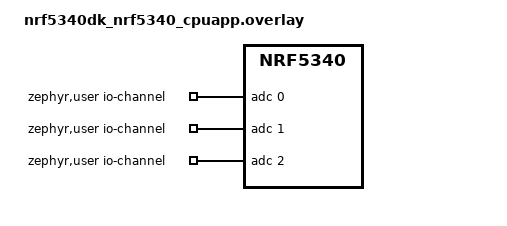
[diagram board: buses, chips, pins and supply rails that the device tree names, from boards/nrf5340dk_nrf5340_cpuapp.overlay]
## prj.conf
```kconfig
# ── ADC ───────────────────────────────────────────────────────────────────────
CONFIG_GPIO=n
CONFIG_NRFX_GPIOTE=y
CONFIG_NRFX_SAADC=y
CONFIG_NRFX_TIMER2=y
CONFIG_NRFX_DPPI=y


# ── POWER MANAGEMENT ──────────────────────────────────────────────────────────
CONFIG_PM_DEVICE=y
CONFIG_PM_DEVICE_RUNTIME=y
```

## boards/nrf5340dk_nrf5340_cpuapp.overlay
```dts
/*
 * SPDX-License-Identifier: Apache-2.0
 *
 * Copyright (c) 2022 Nordic Semiconductor ASA
 */

/ {
	zephyr,user {
		io-channels = <&adc 0>, <&adc 1>, <&adc 2>;
	};
};

// &adc {
// 	#address-cells = <1>;
// 	#size-cells = <0>;
// 	status = "okay";
// 	channel@0 {
// 		reg = <0>;
// 		zephyr,gain = "ADC_GAIN_1_6";
// 		zephyr,reference = "ADC_REF_INTERNAL";
// 		zephyr,acquisition-time = <ADC_ACQ_TIME_DEFAULT>;
// 		zephyr,input-positive = <NRF_SAADC_AIN0>; /* P0.02 for nRF52xx, P0.04 for nRF5340 */
// 		zephyr,resolution = <12>;
// 	};
// 	channel@1 {
// 		reg = <1>;
// 		zephyr,gain = "ADC_GAIN_1_6";
// 		zephyr,reference = "ADC_REF_INTERNAL";
// 		zephyr,acquisition-time = <ADC_ACQ_TIME_DEFAULT>;
// 		zephyr,input-positive = <NRF_SAADC_AIN1>;
// 		zephyr,resolution = <12>;
// 	};
// 	channel@2 {
// 		reg = <2>;
// 		zephyr,gain = "ADC_GAIN_1_6";
// 		zephyr,reference = "ADC_REF_INTERNAL";
// 		zephyr,acquisition-time = <ADC_ACQ_TIME_DEFAULT>;
// 		zephyr,input-positive = <NRF_SAADC_AIN2>;
// 		zephyr,resolution = <12>;
// 	};
// };
```

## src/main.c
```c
// /**
//  * @file main.c
//  * @author Katie Jiang
//  * @brief Multi-channel ADC reads on the nRF5340, based on ESP32 version
//  * @version 0.1
//  * @date 2026-06-22
//  */

// #include <stdio.h>

// #include <zephyr/kernel.h>
// #include <zephyr/device.h>
// #include <zephyr/devicetree.h>
// #include <zephyr/drivers/gpio.h>
// #include <zephyr/drivers/adc.h>
// #include <zephyr/logging/log.h>
// #include <zephyr/sys/util.h>

// /* START LOG */
// LOG_MODULE_REGISTER(nRF_ADC, LOG_LEVEL_DBG);

// /* PIN DEFINITIONS */
// // #define CHIPSELECT
// #define BTN_PIN DT_ALIAS(sw0) // Button 1
// #define LED_PIN DT_ALIAS(led0) // LED1

// /* ADC SPEC CHANNEL SELECTION */
// // ADC channels are specified and configured in boards/*.overlay
// #define DT_SPEC_AND_COMMA(node_id, prop, idx) \
// 	ADC_DT_SPEC_GET_BY_IDX(node_id, idx),

// /* CONST STRUCTS */
// static const struct adc_dt_spec adc_channels[] = { // adc channels
//       DT_FOREACH_PROP_ELEM(DT_PATH(zephyr_user), io_channels, DT_SPEC_AND_COMMA)
// };
// static const struct gpio_dt_spec led = GPIO_DT_SPEC_GET(LED_PIN, gpios);
// static const struct gpio_dt_spec btn = GPIO_DT_SPEC_GET(BTN_PIN, gpios);

// /* CONSTANTS & VARIABLES */
// const long interval = 10000;
// bool is_running = false;
// int32_t raw_vals[ARRAY_SIZE(adc_channels)];
// int32_t voltages[ARRAY_SIZE(adc_channels)];
// unsigned long initialTime;
// unsigned long currentTime;
// unsigned long expectedTime = 0;

// void blinkLED(void) {
//       gpio_pin_toggle_dt(&led);
//       k_msleep(200);
// }

// // TODO: Update to an interrupt
// void waitForButtonPress() {
//       // wait for button to be released first (debounce)
//       while (gpio_pin_get_dt(&btn));
//       k_msleep(50);
//       // now wait for next press
//       while (!gpio_pin_get_dt(&btn));
//       k_msleep(50);
// }

// void setup() {
//       int err;
//       // Configure in/out pins
//       gpio_pin_configure_dt(&btn, GPIO_INPUT | GPIO_PULL_UP);
//       gpio_pin_configure_dt(&led, GPIO_OUTPUT);
//       gpio_pin_set_dt(&led, 0); // Set LED pin LOW

//       // Configure ADC channels
//       for (size_t i=0U; i<ARRAY_SIZE(adc_channels); i++) {
//             if (!adc_is_ready_dt(&adc_channels[i])) {
//                   LOG_ERR("ADC controller device %s not ready", adc_channels[i].dev->name);
//                   blinkLED();
//                   return;
//             }

//             err = adc_channel_setup_dt(&adc_channels[i]);
//             if (err < 0) {
//                   LOG_ERR("Could not setup channel #%d (%d)", 0, err);
//                   blinkLED();
//                   return;
//             }
//       }

//       // initSD omitted
//       is_running = true;
//       gpio_pin_set_dt(&led, 1); // solid on = recording
//       // printk("Setup complete");
// }

// int main(void) {
//       int err;
//       setup();
//       // Define ADC sequence & buffer
//       int16_t buf;
//       struct adc_sequence sequence = {
//             .buffer = &buf,
//             .buffer_size = sizeof(buf),
//       };

//       // void loop()
//       while (1) {
//             if (!is_running) {
//                   // printk("Press button to start new recording...");
//                   gpio_pin_set_dt(&led, 0);
//                   waitForButtonPress();
      
//                   expectedTime = 0;
//                   is_running = true;
//                   gpio_pin_set_dt(&led, 1);
//                   continue;
//             }

//             initialTime = k_cyc_to_us_floor32(k_cycle_get_32()); // equivalent to micros()
//             while (is_running) {
//                   currentTime = k_cyc_to_us_floor32(k_cycle_get_32());
//                   if (currentTime - initialTime >= expectedTime) {
//                         expectedTime += interval;
      
//                         if (gpio_pin_get_dt(&btn)) {
//                               while (!gpio_pin_get_dt(&btn));
//                               is_running = false;
//                               gpio_pin_set_dt(&led, 0); // off = stopped
//                               // printk("Recording stopped");
//                               break;
//                         }
      
//                         for (size_t i=0U; i<ARRAY_SIZE(adc_channels); i++) {
//                               // Initialize ADC sequence
//                               err = adc_sequence_init_dt(&adc_channels[i], &sequence);
//                               if (err < 0) {
//                                     LOG_ERR("Could not initialize sequence\n");
//                                     return 0;
//                               }
      
//                               int32_t val_mv;
      
//                               // Analog read
//                               err = adc_read(adc_channels[i].dev, &sequence);
//                               if (err < 0) {
//                                     LOG_ERR("Could not read (%d)\n", err);
//                                     continue;
//                               }
      
//                               val_mv = (int)buf;
//                               raw_vals[i] = val_mv;
      
//                               unsigned long time_diff = k_cyc_to_us_floor32(k_cycle_get_32()) - initialTime;
//                               LOG_INF("ADC reading[%lu]: %s, channel %d: Raw: %d", time_diff, adc_channels[i].dev->name, 
//                                     adc_channels[i].channel_id, raw_vals[i]);
                              
//                               // Convert raw value to mV
//                               err = adc_raw_to_millivolts_dt(&adc_channels[i], &val_mv);
//                               if (err < 0) {
//                               LOG_WRN(" (value in mV not available)\n");
//                               } else {
//                                     LOG_INF(" = %d mV", val_mv);
//                               }
      
//                               voltages[i] = val_mv;
//                               // This sleep is necessary in order to print periodically
//                               // and makes the readings more accurate for some reason...
//                               // TODO: Adjust sleep to match sampling rate
//                               k_sleep(K_MSEC(1000));
//                         }
//                   }
//             }
//       }
// }
```

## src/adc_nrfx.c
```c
/**
 * @brief Analog reads using the nRFx DPPI
 * 
 */

#include <nrfx_example.h>
#include <saadc_examples_common.h>
#include <nrfx_saadc.h>

#define NRFX_LOG_MODULE                 EXAMPLE
#define NRFX_EXAMPLE_CONFIG_LOG_ENABLED 1
#define NRFX_EXAMPLE_CONFIG_LOG_LEVEL   3
#include <nrfx_log.h>

// Channel Configuartion
static const nrfx_saadc_channel_t multi_channels[] =
{
      NRFX_SAADC_DEFAULT_CHANNEL_SE(SAADC_CH0_AIN, 0),
      NRFX_SAADC_DEFAULT_CHANNEL_SE(SAADC_CH1_AIN, 1),
#if SAADC_MAX_CHANNELS == 3
      NRFX_SAADC_DEFAULT_CHANNEL_SE(SAADC_CH2_AIN, 2),
#endif
};

#define NUM_ADC_CHANNELS NRFX_ARRAY_SIZE(multi_channels)

/** @brief Array specifying GPIO pins used to test the functionality of SAADC. */
static uint8_t m_out_pins[NUM_ADC_CHANNELS] = {
    SAADC_CH0_LOOPBACK_PIN,
    SAADC_CH1_LOOPBACK_PIN,
#if SAADC_MAX_CHANNELS == 3
    SAADC_CH2_LOOPBACK_PIN
#endif
};

/** @brief Symbol specifying the number of SAADC samplings to trigger. */
#define SAMPLING_ITERATIONS 2

/** @brief Symbol specifying the resolution of the SAADC. */
#define RESOLUTION NRF_SAADC_RESOLUTION_12BIT

static nrf_saadc_value_t samples_buffer[NUM_ADC_CHANNELS];

/** @brief Flag indicating that sampling on every specified channel is finished and buffer ( @ref m_samples_buffer ) is filled with samples. */
static bool saadc_ready;

/** @brief GPIOTE instance used in the example. */
static nrfx_gpiote_t gpiote_inst = NRFX_GPIOTE_INSTANCE(NRF_GPIOTE_INST_GET(SAADC_GPIOTE_INST_IDX));

#if !defined(__ZEPHYR__)
/* Define an IRQ handler named nrfx_gpiote_<SAADC_GPIOTE_INST_IDX>_irq_handler. */
NRFX_INSTANCE_IRQ_HANDLER_DEFINE(gpiote, SAADC_GPIOTE_INST_IDX, &gpiote_inst);
#endif

/** 
 * @brief Function for handling SAADC driver events.
 */
static void saadc_handler(nrfx_saadc_evt_t const * p_event) {
      uint16_t samples_number;
}

int main(void) {
      int status;
      (void)status;

#if defined(__ZEPHYR__)
      IRQ_CONNECT(NRFX_IRQ_NUMBER_GET(NRF_SAADC), IRQ_PRIO_LOWEST, nrfx_saadc_irq_handler, 0, 0);
      IRQ_CONNECT(NRFX_IRQ_NUMBER_GET(NRF_GPIOTE_INST_GET(SAADC_GPIOTE_INST_IDX)), IRQ_PRIO_LOWEST,
                  nrfx_gpiote_irq_handler, &gpiote_inst, 0);
#endif
      NRFX_EXAMPLE_LOG_INIT();
      NRFX_LOG_INFO("Starting nrfx_saadc simple non-blocking example.");
      NRFX_EXAMPLE_LOG_PROCESS();

      status = nrfx_saadc_init(NRFX_SAADC_DEFAULT_CONFIG_IRQ_PRIORITY);
      NRFX_ASSERT(status == 0);

      status = nrfx_gpiote_init(&gpiote_inst, NRFX_GPIOTE_DEFAULT_CONFIG_IRQ_PRIORITY);
      NRFX_ASSERT(status == 0);
      NRFX_LOG_INFO("GPIOTE status: %s",
                  nrfx_gpiote_init_check(&gpiote_inst) ? "initialized" : "not initialized");
      
      for (uint8_t i = 0; i < NUM_ADC_CHANNELS; i++) {
            gpiote_pin_toggle_task_setup(&gpiote_inst, m_out_pins[i]);
      }

      uint32_t sampling_index = 0;
      uint32_t channels_mask = 0;

      // STATE_MULTIPLE_CONFIG
      NRFX_LOG_INFO("Multiple channels SAADC test.");
      status = nrfx_saadc_channels_config(multi_channels, NUM_ADC_CHANNELS);
      NRFX_ASSERT(status == 0);

      


}
```

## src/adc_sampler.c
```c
// /* SPDX-License-Identifier: Apache-2.0 */
// #include "adc_sampler.h"

// #include <zephyr/kernel.h>
// #include <zephyr/device.h>
// #include <zephyr/devicetree.h>
// #include <zephyr/drivers/adc.h>
// #include <zephyr/logging/log.h>
// #include <zephyr/sys/util.h>

// LOG_MODULE_REGISTER(adc_sampler, LOG_LEVEL_DBG);

// #define DT_SPEC_AND_COMMA(node_id, prop, idx) 
// 	ADC_DT_SPEC_GET_BY_IDX(node_id, idx),

// static const struct adc_dt_spec adc_channels[] = {
// 	DT_FOREACH_PROP_ELEM(DT_PATH(zephyr_user), io_channels, DT_SPEC_AND_COMMA)
// };

// BUILD_ASSERT(ARRAY_SIZE(adc_channels) == ADC_NUM_CHANNELS,
// 	     "overlay io-channels count must equal ADC_NUM_CHANNELS");

// /* ── Queue (contract with BLE consumer) ──────────────────────────────────── */

// K_MSGQ_DEFINE(adc_sample_q, sizeof(struct adc_sample), 20, 4);

// /* ── Internal state ───────────────────────────────────────────────────────── */

// #define SAMPLE_INTERVAL_MS 10   /* 100 Hz */

// static struct k_timer sample_timer;
// static K_SEM_DEFINE(sample_sem, 0, 1);
// static volatile bool running;

// static void timer_fn(struct k_timer *t)
// {
// 	ARG_UNUSED(t);
// 	k_sem_give(&sample_sem);
// }

// /* ── Async Read (phase 2) ───────
//  *
//  * Thread yields during conversion and the CPU can enter sleep between samples.
//  *
//  * TODO (DMA — phase 3, full CPU sleep): Configure SAADC scan mode triggered
//  * by TIMER via DPPI; handle the SAADC END event in a callback that writes
//  * directly into adc_sample_q. The CPU can then stay in System ON Low Power
//  * between callbacks entirely.
// */

// static void sample_all_channels_async(struct adc_sample *out)
// {
// 	int16_t buf;
// 	struct adc_sequence sequence = {
// 		.buffer      = &buf,
// 		.buffer_size = sizeof(buf),
// 	};

// 	static struct k_poll_signal async_sig = K_POLL_SIGNAL_INITIALIZER(async_sig);
// 	struct k_poll_event async_evt = 
// 		K_POLL_EVENT_INITIALIZER(K_POLL_TYPE_SIGNAL, 
// 						K_POLL_MODE_NOTIFY_ONLY, 
// 						&async_sig);

// 	out->timestamp_us = k_cyc_to_us_floor32(k_cycle_get_32());

// 	for (size_t i = 0; i < ARRAY_SIZE(adc_channels); i++) {
// 		// Initialize sequence
// 		int err = adc_sequence_init_dt(&adc_channels[i], &sequence);
// 		if (err < 0) {
// 			LOG_ERR("sequence init ch%u: %d", i, err);
// 			out->raw[i] = 0;
// 			out->mv[i]  = 0;
// 			continue;
// 		}

// 		// Reset signal before each read
// 		k_poll_signal_reset(&async_sig);
// 		async_evt.state = K_POLL_STATE_NOT_READY;

// 		err = adc_read_async(adc_channels[i].dev, &sequence, &async_sig);
// 		if (err < 0) {
// 			LOG_ERR("adc_read ch%u: %d", i, err);
// 			out->raw[i] = 0;
// 			out->mv[i]  = 0;
// 			continue;
// 		}

// 		// Sleep while waiting for completion
// 		err = k_poll(&async_evt, 1, K_FOREVER);
// 		if (err < 0) {
// 			LOG_ERR("k_poll ch%u: %d", i, err);
// 			out->raw[i] = 0;
// 			out->mv[i]  = 0;
// 			continue;
// 		}

// 		int32_t val_mv = (int32_t)buf;
// 		out->raw[i] = buf;

// 		LOG_INF("ADC reading[%u us]: %s, channel %d: Raw: %d",
// 			out->timestamp_us,
// 			adc_channels[i].dev->name,
// 			adc_channels[i].channel_id,
// 			out->raw[i]);

// 		err = adc_raw_to_millivolts_dt(&adc_channels[i], &val_mv);
// 		if (err < 0) {
// 			LOG_WRN("ch%u: mV not available", i);
// 			out->mv[i] = 0;
// 		} else {
// 			LOG_INF("ch%u: %d mV", i, val_mv);
// 			out->mv[i] = val_mv;
// 		}
// 	}
// }

// /* ── Sampler thread ───────────────────────────────────────────────────────── */

// static void sampler_thread_fn(void *a, void *b, void *c)
// {
// 	ARG_UNUSED(a);
// 	ARG_UNUSED(b);
// 	ARG_UNUSED(c);

// 	while (1) {
// 		k_sem_take(&sample_sem, K_FOREVER);

// 		if (!running) {
// 			continue;
// 		}

// 		struct adc_sample s;
// 		// sample_all_channels(&s);
// 		sample_all_channels_async(&s);

// 		if (k_msgq_put(&adc_sample_q, &s, K_NO_WAIT) != 0) {
// 			LOG_WRN("queue full, sample dropped");
// 		}
// 	}
// }

// K_THREAD_DEFINE(sampler_tid, 1024, sampler_thread_fn,
// 		NULL, NULL, NULL, 5, 0, 0);

// /* ── Public API ───────────────────────────────────────────────────────────── */

// int adc_sampler_init(void)
// {
// 	for (size_t i = 0; i < ARRAY_SIZE(adc_channels); i++) {
// 		if (!adc_is_ready_dt(&adc_channels[i])) {
// 			LOG_ERR("ADC device %s not ready",
// 				adc_channels[i].dev->name);
// 			return -ENODEV;
// 		}

// 		int err = adc_channel_setup_dt(&adc_channels[i]);
// 		if (err < 0) {
// 			LOG_ERR("channel setup ch%u: %d", i, err);
// 			return err;
// 		}
// 	}

// 	k_timer_init(&sample_timer, timer_fn, NULL);
// 	LOG_INF("ADC sampler ready, %u channels", ADC_NUM_CHANNELS);
// 	return 0;
// }

// void adc_sampler_start(void)
// {
// 	running = true;
// 	k_timer_start(&sample_timer, K_NO_WAIT, K_MSEC(SAMPLE_INTERVAL_MS));
// 	LOG_INF("ADC sampling started @ %d Hz", 1000 / SAMPLE_INTERVAL_MS);
// }

// void adc_sampler_stop(void)
// {
// 	running = false;
// 	k_timer_stop(&sample_timer);
// 	LOG_INF("ADC sampling stopped");
// }
```

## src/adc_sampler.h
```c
// /* SPDX-License-Identifier: Apache-2.0 */
// #ifndef ADC_SAMPLER_H_
// #define ADC_SAMPLER_H_

// #include <zephyr/kernel.h>
// #include <stdint.h>

// /* Must match the number of channels declared in boards/*.overlay */
// #define ADC_NUM_CHANNELS 3

// /* ── Contract ─────────────────────────────────────────────────────────────── */

// struct adc_sample {
// 	uint32_t timestamp_us;
// 	int16_t  raw[ADC_NUM_CHANNELS];
// 	int32_t  mv[ADC_NUM_CHANNELS];
// };

// /* Shared queue: ADC is the producer, BLE sender is the consumer.
//  * Depth 20 = 200 ms of headroom at 100 Hz.
//  * Defined in adc_sampler.c; BLE side includes this header for the extern. */
// extern struct k_msgq adc_sample_q;

// /* ── API ──────────────────────────────────────────────────────────────────── */

// int  adc_sampler_init(void);
// void adc_sampler_start(void);
// void adc_sampler_stop(void);

// #endif /* ADC_SAMPLER_H_ */
```

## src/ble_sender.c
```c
// /* SPDX-License-Identifier: Apache-2.0
//  *
//  * BLE sender module.
//  *
//  * Architecture contract:
//  *   - Knows only about adc_sample_q and struct adc_sample (from adc_sampler.h)
//  *   - Has zero knowledge of how ADC sampling is implemented
//  *   - Single direction: NUS TX only; RX callback is NULL
//  *
//  * Packet format sent to PC (little-endian, packed):
//  *   [seq:u16][count:u8][t0_us:u32][raw[0..BATCH-1][0..CH-1]:i16]
//  *   = 7 + BATCH_SIZE * ADC_NUM_CHANNELS * 2 bytes
//  *   = 7 + 5*3*2 = 37 bytes  →  requires ATT MTU >= 40
//  *     (set CONFIG_BT_L2CAP_TX_MTU=65 in prj.conf)
//  */

// #include "ble_sender.h"
// #include "adc_sampler.h"   /* contract: adc_sample_q, struct adc_sample */

// #include <string.h>
// #include <zephyr/kernel.h>
// #include <zephyr/bluetooth/bluetooth.h>
// #include <zephyr/bluetooth/uuid.h>
// #include <zephyr/bluetooth/gatt.h>
// #include <zephyr/bluetooth/hci.h>
// #include <bluetooth/services/nus.h>
// #include <dk_buttons_and_leds.h>
// #include <zephyr/logging/log.h>

// LOG_MODULE_REGISTER(ble_sender, LOG_LEVEL_DBG);

// #define CON_STATUS_LED  DK_LED2

// #define DEVICE_NAME     CONFIG_BT_DEVICE_NAME
// #define DEVICE_NAME_LEN (sizeof(DEVICE_NAME) - 1)

// /* ── Batch parameters ─────────────────────────────────────────────────────── */

// /* Samples per BLE notify.  At 100 Hz, BATCH_SIZE=5 → 20 notifies/s (50 ms
//  * per notify), which keeps the connection event count very low. */
// #define BATCH_SIZE 5

// struct __packed ble_adc_packet {
// 	uint16_t seq;                              /* rolling, for gap detection */
// 	uint8_t  count;                            /* always BATCH_SIZE for now */
// 	uint32_t t0_us;                            /* timestamp of first sample */
// 	int16_t  raw[BATCH_SIZE][ADC_NUM_CHANNELS];
// };

// /* ── BLE state ────────────────────────────────────────────────────────────── */

// static K_SEM_DEFINE(ble_init_ok, 0, 1);
// static struct bt_conn *current_conn;
// static struct k_work   adv_work;

// static const struct bt_data ad[] = {
// 	BT_DATA_BYTES(BT_DATA_FLAGS, (BT_LE_AD_GENERAL | BT_LE_AD_NO_BREDR)),
// 	BT_DATA(BT_DATA_NAME_COMPLETE, DEVICE_NAME, DEVICE_NAME_LEN),
// };

// static const struct bt_data sd[] = {
// 	BT_DATA_BYTES(BT_DATA_UUID128_ALL, BT_UUID_NUS_VAL),
// };

// /* ── Connection callbacks ─────────────────────────────────────────────────── */

// static void adv_work_handler(struct k_work *work)
// {
// 	ARG_UNUSED(work);
// 	int err = bt_le_adv_start(BT_LE_ADV_CONN_FAST_2,
// 				  ad, ARRAY_SIZE(ad),
// 				  sd, ARRAY_SIZE(sd));
// 	if (err) {
// 		LOG_ERR("adv start failed: %d", err);
// 	}
// }

// static void connected(struct bt_conn *conn, uint8_t err)
// {
// 	char addr[BT_ADDR_LE_STR_LEN];

// 	bt_addr_le_to_str(bt_conn_get_dst(conn), addr, sizeof(addr));
// 	if (err) {
// 		LOG_ERR("connect failed %s err 0x%02x", addr, err);
// 		return;
// 	}
// 	LOG_INF("connected %s", addr);
// 	current_conn = bt_conn_ref(conn);
// 	dk_set_led_on(CON_STATUS_LED);
// }

// static void disconnected(struct bt_conn *conn, uint8_t reason)
// {
// 	char addr[BT_ADDR_LE_STR_LEN];

// 	bt_addr_le_to_str(bt_conn_get_dst(conn), addr, sizeof(addr));
// 	LOG_INF("disconnected %s reason 0x%02x", addr, reason);

// 	if (current_conn) {
// 		bt_conn_unref(current_conn);
// 		current_conn = NULL;
// 		dk_set_led_off(CON_STATUS_LED);
// 	}
// }

// static void recycled_cb(void)
// {
// 	k_work_submit(&adv_work);
// }

// BT_CONN_CB_DEFINE(conn_callbacks) = {
// 	.connected    = connected,
// 	.disconnected = disconnected,
// 	.recycled     = recycled_cb,
// };

// /* RX path intentionally absent: single-direction design. */
// static struct bt_nus_cb nus_cb = {
// 	.received = NULL,
// };

// /* ── BLE write thread ─────────────────────────────────────────────────────── */

// static void ble_write_thread_fn(void *a, void *b, void *c)
// {
// 	ARG_UNUSED(a);
// 	ARG_UNUSED(b);
// 	ARG_UNUSED(c);

// 	k_sem_take(&ble_init_ok, K_FOREVER);

// 	struct ble_adc_packet pkt;
// 	uint16_t seq = 0;

// 	while (1) {
// 		/* Accumulate BATCH_SIZE samples from the queue (blocks until
// 		 * all slots are filled). */
// 		for (uint8_t i = 0; i < BATCH_SIZE; i++) {
// 			struct adc_sample s;

// 			k_msgq_get(&adc_sample_q, &s, K_FOREVER);

// 			if (i == 0) {
// 				pkt.t0_us = s.timestamp_us;
// 			}
// 			memcpy(pkt.raw[i], s.raw,
// 			       sizeof(int16_t) * ADC_NUM_CHANNELS);
// 		}

// 		pkt.seq   = seq++;
// 		pkt.count = BATCH_SIZE;

// 		if (current_conn) {
// 			int err = bt_nus_send(NULL,
// 					      (const uint8_t *)&pkt,
// 					      sizeof(pkt));
// 			if (err) {
// 				LOG_WRN("bt_nus_send: %d", err);
// 			}
// 		}
// 	}
// }

// K_THREAD_DEFINE(ble_write_tid, 2048, ble_write_thread_fn,
// 		NULL, NULL, NULL, 7, 0, 0);

// /* ── Public API ───────────────────────────────────────────────────────────── */

// int ble_sender_init(void)
// {
// 	int err;

// 	err = dk_leds_init();
// 	if (err) {
// 		LOG_ERR("dk_leds_init: %d", err);
// 		return err;
// 	}

// 	err = bt_enable(NULL);
// 	if (err) {
// 		LOG_ERR("bt_enable: %d", err);
// 		return err;
// 	}
// 	LOG_INF("BT enabled");

// 	err = bt_nus_init(&nus_cb);
// 	if (err) {
// 		LOG_ERR("bt_nus_init: %d", err);
// 		return err;
// 	}

// 	k_work_init(&adv_work, adv_work_handler);
// 	k_sem_give(&ble_init_ok);
// 	k_work_submit(&adv_work);

// 	return 0;
// }
```

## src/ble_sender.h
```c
// /* SPDX-License-Identifier: Apache-2.0 */
// #ifndef BLE_SENDER_H_
// #define BLE_SENDER_H_

// /* Initialise BLE stack, NUS service, and start advertising.
//  * Spawns an internal thread that drains adc_sample_q and sends
//  * batched notify packets over NUS TX.
//  * Returns 0 on success, negative errno on failure. */
// int ble_sender_init(void);

// #endif /* BLE_SENDER_H_ */
```

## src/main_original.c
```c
// /* SPDX-License-Identifier: Apache-2.0
//  *
//  * Wiring layer only.  Does not reference any ADC or BLE implementation
//  * details directly — those are encapsulated in their respective modules.
//  */

// #include <zephyr/kernel.h>
// #include <zephyr/logging/log.h>

// #include "adc_sampler.h"
// #include "ble_sender.h"

// LOG_MODULE_REGISTER(main, LOG_LEVEL_INF);

// int main(void)
// {
// 	int err;

// 	err = adc_sampler_init();
// 	if (err) {
// 		LOG_ERR("adc_sampler_init: %d", err);
// 		return err;
// 	}

// 	err = ble_sender_init();
// 	if (err) {
// 		LOG_ERR("ble_sender_init: %d", err);
// 		return err;
// 	}

// 	adc_sampler_start();

// 	return 0;
// }
```
